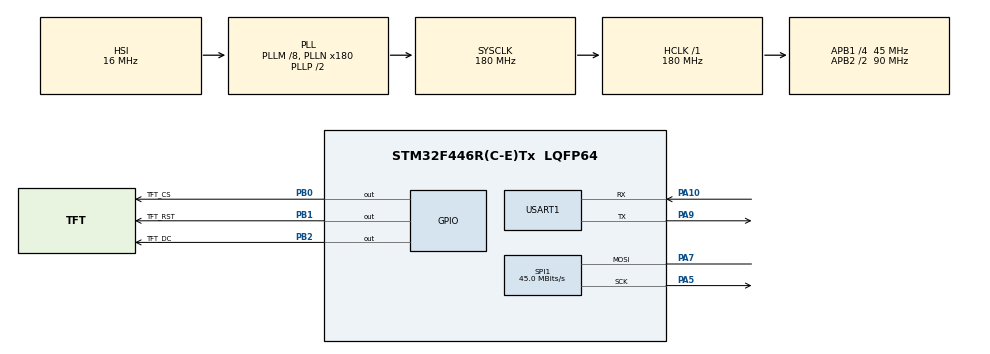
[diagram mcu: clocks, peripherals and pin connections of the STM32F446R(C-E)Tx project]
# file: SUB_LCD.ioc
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Dma.Request0=USART1_RX
Dma.USART1_RX.0.Direction=DMA_PERIPH_TO_MEMORY
Dma.USART1_RX.0.FIFOMode=DMA_FIFOMODE_DISABLE
Dma.USART1_RX.0.Instance=DMA2_Stream2
Dma.USART1_RX.0.MemDataAlignment=DMA_MDATAALIGN_BYTE
Dma.USART1_RX.0.MemInc=DMA_MINC_ENABLE
Dma.USART1_RX.0.Mode=DMA_CIRCULAR
Dma.USART1_RX.0.PeriphDataAlignment=DMA_PDATAALIGN_BYTE
Dma.USART1_RX.0.PeriphInc=DMA_PINC_DISABLE
Dma.USART1_RX.0.Priority=DMA_PRIORITY_VERY_HIGH
Mcu.Family=STM32F4
Mcu.Name=STM32F446R(C-E)Tx
Mcu.Package=LQFP64
NVIC.DMA2_Stream2_IRQn=true\:0\:0\:false\:false\:true\:false\:true\:true
NVIC.PriorityGroup=NVIC_PRIORITYGROUP_0
PA10.Mode=Asynchronous
PA10.Signal=USART1_RX
PA5.Mode=Simplex_Bidirectional_Master
PA5.Signal=SPI1_SCK
PA7.Mode=Simplex_Bidirectional_Master
PA7.Signal=SPI1_MOSI
PA9.Mode=Asynchronous
PA9.Signal=USART1_TX
PB0.GPIO_Label=TFT_CS
PB0.Signal=GPIO_Output
PB1.GPIO_Label=TFT_RST
PB1.Signal=GPIO_Output
PB2.GPIO_Label=TFT_DC
PB2.Signal=GPIO_Output
PH0-OSC_IN.Mode=HSE-External-Oscillator
PH0-OSC_IN.Signal=RCC_OSC_IN
PH1-OSC_OUT.Mode=HSE-External-Oscillator
PH1-OSC_OUT.Signal=RCC_OSC_OUT
ProjectManager.HeapSize=0x200
ProjectManager.StackSize=0x400
ProjectManager.TargetToolchain=STM32CubeIDE
RCC.AHBFreq_Value=180000000
RCC.APB1CLKDivider=RCC_HCLK_DIV4
RCC.APB1Freq_Value=45000000
RCC.APB1TimFreq_Value=90000000
RCC.APB2CLKDivider=RCC_HCLK_DIV2
RCC.APB2Freq_Value=90000000
RCC.APB2TimFreq_Value=180000000
RCC.CortexFreq_Value=180000000
RCC.FLatency-AdvancedSettings=FLASH_LATENCY_5
RCC.HCLKFreq_Value=180000000
RCC.HSE_VALUE=8000000
RCC.HSI_VALUE=16000000
RCC.LSE_VALUE=32768
RCC.PLLM=8
RCC.PLLN=180
RCC.SYSCLKFreq_VALUE=180000000
RCC.SYSCLKSource=RCC_SYSCLKSOURCE_PLLCLK
RCC.USBFreq_Value=180000000
RCC.VCOOutputFreq_Value=360000000
SPI1.BaudRatePrescaler=SPI_BAUDRATEPRESCALER_2
SPI1.CalculateBaudRate=45.0 MBits/s
SPI1.Direction=SPI_DIRECTION_1LINE
SPI1.Mode=SPI_MODE_MASTER
SPI1.VirtualType=VM_MASTER
USART1.VirtualMode=VM_ASYNC
board=NUCLEO-F446RE

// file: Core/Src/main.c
/* USER CODE BEGIN Header */
/**
  ******************************************************************************
  * @file           : main.c
  * @brief          : Main program body
  ******************************************************************************
  * @attention
  *
  * Copyright (c) 2024 STMicroelectronics.
  * All rights reserved.
  *
  * This software is licensed under terms that can be found in the LICENSE file
  * in the root directory of this software component.
  * If no LICENSE file comes with this software, it is provided AS-IS.
  *
  ******************************************************************************
  */
/* USER CODE END Header */
#include "main.h"

/* USER CODE BEGIN Includes */
#include "stdio.h"
#include <string.h>
#include "bitmaps.h"
#include <math.h>
#include "ILI9488.h"

/* USER CODE END Includes */

/* USER CODE BEGIN PM */
# define DEG_2_RAD 0.0174533f

/* USER CODE END PM */

SPI_HandleTypeDef hspi1;

UART_HandleTypeDef huart1;
DMA_HandleTypeDef hdma_usart1_rx;

/* USER CODE BEGIN PV */

uint8_t RxBuffer[25];
uint8_t rxComplete=0;
uint8_t firstReception=1;
float depth;
float velocity;
float pitch=10.0f; // negative pitch means climbing
float roll=-7.0f*DEG_2_RAD;;
//float roll=15.0f;
float yaw=0.0f;

/* USER CODE END PV */

void SystemClock_Config(void);
static void MX_GPIO_Init(void);
static void MX_DMA_Init(void);
static void MX_USART1_UART_Init(void);
static void MX_SPI1_Init(void);

/* USER CODE BEGIN 0 */
void HAL_UART_RxCpltCallback(UART_HandleTypeDef *huart)
{
	rxComplete=1;
	firstReception=0;
}

/* USER CODE END 0 */

int main(void)
{

  /* MCU Configuration--------------------------------------------------------*/

  /* Reset of all peripherals, Initializes the Flash interface and the Systick. */
  HAL_Init();

  /* Configure the system clock */
  SystemClock_Config();

  /* Initialize all configured peripherals */
  MX_GPIO_Init();
  MX_DMA_Init();
  MX_USART1_UART_Init();
  MX_SPI1_Init();
  /* USER CODE BEGIN 2 */
  HAL_UART_Receive_DMA(&huart1,RxBuffer,25);
  lcd_init_spi();

  	  // Sky and ground
     fill_rectangle(0, 0, WIDTH, HEIGHT/2, COLOR_BLUE);//
     fill_rectangle(0, HEIGHT/2, WIDTH, HEIGHT, COLOR_BROWN); //

     // Pitch indicators lower screen
     fill_rectangle(WIDTH/2-15, HEIGHT/2+15, WIDTH/2+15, HEIGHT/2+16, COLOR_WHITE);
     fill_rectangle(WIDTH/2-30, HEIGHT/2+30, WIDTH/2+30, HEIGHT/2+31, COLOR_WHITE);
     fill_rectangle(WIDTH/2-15, HEIGHT/2+45, WIDTH/2+15, HEIGHT/2+46, COLOR_WHITE);
     fill_rectangle(WIDTH/2-30, HEIGHT/2+60, WIDTH/2+30, HEIGHT/2+61, COLOR_WHITE);
     draw_string(WIDTH/2-53,HEIGHT/2+27, COLOR_WHITE, 1, "10");
     draw_string(WIDTH/2+33,HEIGHT/2+27, COLOR_WHITE, 1, "10");
     draw_string(WIDTH/2-53,HEIGHT/2+57, COLOR_WHITE, 1, "20");
     draw_string(WIDTH/2+33,HEIGHT/2+57, COLOR_WHITE, 1, "20");

     // Pitch indicators upper screen
     fill_rectangle(WIDTH/2-15, HEIGHT/2-16, WIDTH/2+15,HEIGHT/2-15, COLOR_WHITE);
     fill_rectangle(WIDTH/2-30, HEIGHT/2-31, WIDTH/2+30, HEIGHT/2-30, COLOR_WHITE);
     fill_rectangle(WIDTH/2-15, HEIGHT/2-46, WIDTH/2+15, HEIGHT/2-45, COLOR_WHITE);
     fill_rectangle(WIDTH/2-30, HEIGHT/2-61, WIDTH/2+30, HEIGHT/2-60, COLOR_WHITE);
     draw_string(WIDTH/2-53,HEIGHT/2-27, COLOR_WHITE, 1, "10");
     draw_string(WIDTH/2+33,HEIGHT/2-27, COLOR_WHITE, 1, "10");
     draw_string(WIDTH/2-53,HEIGHT/2-65, COLOR_WHITE, 1, "20");
     draw_string(WIDTH/2+33,HEIGHT/2-65, COLOR_WHITE, 1, "20");

     // cross heirs
     fill_rectangle(WIDTH/2-60, HEIGHT/2-2, WIDTH/2-15,HEIGHT/2+2, COLOR_MAGENTA);
     fill_rectangle(WIDTH/2+15, HEIGHT/2-2, WIDTH/2+60,HEIGHT/2+2, COLOR_MAGENTA);
     fill_rectangle(WIDTH/2-5, HEIGHT/2-2, WIDTH/2+5,HEIGHT/2+2, COLOR_MAGENTA);
     fill_rectangle(WIDTH/2+15, HEIGHT/2, WIDTH/2+16,HEIGHT/2+6, COLOR_MAGENTA);
     fill_rectangle(WIDTH/2-15, HEIGHT/2, WIDTH/2-14,HEIGHT/2+6, COLOR_MAGENTA);

     //Speed Depth Roll Time and pitch values
     draw_string(WIDTH/2-80, HEIGHT/2+100, COLOR_WHITE, 1, "ROLL:");
     draw_string(WIDTH/2-80,  HEIGHT/2+130, COLOR_WHITE, 1, "PITCH:");
     draw_string(WIDTH/2+30,  HEIGHT/2+100, COLOR_WHITE, 1, "DEPTH:");
     draw_string(WIDTH/2+30,  HEIGHT/2+130, COLOR_WHITE, 1, "TIME:");
     draw_string(WIDTH/2+30,  HEIGHT/2+130, COLOR_WHITE, 1, "TIME:");
     draw_string(WIDTH/2-20,  HEIGHT/2-115, COLOR_WHITE, 1, "SPEED:");

     // Turning indicator
     if(yaw<-0.05f)
    	fillTriangle(WIDTH/2+150, HEIGHT/2-100, WIDTH/2+70, HEIGHT/2-70, WIDTH/2+70, HEIGHT/2-130, COLOR_MAGENTA);
     if(yaw>0.05f);
     	 fillTriangle(WIDTH/2-150, HEIGHT/2-100, WIDTH/2-70, HEIGHT/2-70, WIDTH/2-70, HEIGHT/2-130, COLOR_MAGENTA);

     // new horizon

        // Calculate two points for the horizon line

        // Draw the horizon line

     int y1= HEIGHT/2-pitch*3-WIDTH/2*tan(roll);
     int y2=HEIGHT/2-pitch*3+WIDTH/2*tan(roll);
     int xtr1,ytr1,xtr2,ytr2,xtr3,ytr3;
	 drawLine(0, y1,WIDTH,y2,COLOR_WHITE);
	 // get the 3 points that form a triangle
	 xtr1=0;
	 ytr1=HEIGHT/2;
	 xtr2=0;
	 ytr2=y1;
	float m=(float)(y2-y1)/WIDTH;
	xtr3=round((HEIGHT/2-y1)/m);
	ytr3=HEIGHT/2;
	 if (roll<=0)
	{
		fillTriangle( xtr1,ytr1,xtr2,ytr2,xtr3,ytr3, COLOR_BLUE);
		fillTriangle( xtr3,HEIGHT/2,WIDTH,y2,WIDTH,HEIGHT/2, COLOR_BROWN);
		drawLine(0, y1,WIDTH,y2,COLOR_WHITE);
	 }

	 if (roll>0)
	 {
		fillTriangle( xtr1,ytr1,xtr2,ytr2,xtr3,ytr3, COLOR_BROWN);
		fillTriangle( xtr3,HEIGHT/2,WIDTH,y2,WIDTH,HEIGHT/2, COLOR_BLUE);
		drawLine(0, y1,WIDTH,y2,COLOR_WHITE);

	 }

	 int prev_y1=y1;
	 int prev_y2=y2;
	 int prev_xtr1=xtr1;
	 int prev_xtr2=xtr2;
	 int prev_xtr3=xtr3;
	 int prev_ytr1=ytr1;
	 int prev_ytr2=ytr2;
	 int prev_ytr3=ytr3;

//     int x = 0, y = 0;
//       int old_x, old_y;
//       int increment_x = 25;
//       int increment_y = 15;
//       int x_direction = 1;
//       int y_direction = 1;

  /* USER CODE END 2 */

  /* Infinite loop */
  /* USER CODE BEGIN WHILE */
    while (1)
    {
    	 if(rxComplete==1)
    		  {
    			  int i;
    			      for (i = 0; i < 25; i++) {
    			          if (RxBuffer[i] == 'D' && i + 4 < 25) {

    			              *((uint8_t*)&depth + 0) = RxBuffer[i + 1];
    			              *((uint8_t*)&depth + 1) = RxBuffer[i + 2];
    			              *((uint8_t*)&depth + 2) = RxBuffer[i + 3];
    			              *((uint8_t*)&depth + 3) = RxBuffer[i + 4];

    			          }
    			          else if (RxBuffer[i] == 'R' && i + 4 < 25) {

    			              *((uint8_t*)&roll + 0) = RxBuffer[i + 1];
    			              *((uint8_t*)&roll + 1) = RxBuffer[i + 2];
    			              *((uint8_t*)&roll + 2) = RxBuffer[i + 3];
    			              *((uint8_t*)&roll + 3) = RxBuffer[i + 4];

    			          }
    			          else if (RxBuffer[i] == 'P' && i + 4 < 25) {

    			              *((uint8_t*)&pitch + 0) = RxBuffer[i + 1];
    			              *((uint8_t*)&pitch + 1) = RxBuffer[i + 2];
    			              *((uint8_t*)&pitch + 2) = RxBuffer[i + 3];
    			              *((uint8_t*)&pitch + 3) = RxBuffer[i + 4];

    			          }

    			          else if (RxBuffer[i] == 'V' && i + 4 < 25) {

    						  *((uint8_t*)&velocity + 0) = RxBuffer[i + 1];
    						  *((uint8_t*)&velocity + 1) = RxBuffer[i + 2];
    						  *((uint8_t*)&velocity + 2) = RxBuffer[i + 3];
    						  *((uint8_t*)&velocity + 3) = RxBuffer[i + 4];

    			         		          }
    			          else if (RxBuffer[i] == 'Y' && i + 4 < 25) {

    			              *((uint8_t*)&yaw + 0) = RxBuffer[i + 1];
    			              *((uint8_t*)&yaw + 1) = RxBuffer[i + 2];
    			              *((uint8_t*)&yaw + 2) = RxBuffer[i + 3];
    			              *((uint8_t*)&yaw + 3) = RxBuffer[i + 4];

    			          }
    			      }
    			      rxComplete=0;
    		  }

    /* USER CODE END WHILE */

    }
}

void SystemClock_Config(void)
{
  RCC_OscInitTypeDef RCC_OscInitStruct = {0};
  RCC_ClkInitTypeDef RCC_ClkInitStruct = {0};

  /** Configure the main internal regulator output voltage
  */
  __HAL_RCC_PWR_CLK_ENABLE();
  __HAL_PWR_VOLTAGESCALING_CONFIG(PWR_REGULATOR_VOLTAGE_SCALE1);

  /** Initializes the RCC Oscillators according to the specified parameters
  * in the RCC_OscInitTypeDef structure.
  */
  RCC_OscInitStruct.OscillatorType = RCC_OSCILLATORTYPE_HSI;
  RCC_OscInitStruct.HSIState = RCC_HSI_ON;
  RCC_OscInitStruct.HSICalibrationValue = RCC_HSICALIBRATION_DEFAULT;
  RCC_OscInitStruct.PLL.PLLState = RCC_PLL_ON;
  RCC_OscInitStruct.PLL.PLLSource = RCC_PLLSOURCE_HSI;
  RCC_OscInitStruct.PLL.PLLM = 8;
  RCC_OscInitStruct.PLL.PLLN = 180;
  RCC_OscInitStruct.PLL.PLLP = RCC_PLLP_DIV2;
  RCC_OscInitStruct.PLL.PLLQ = 2;
  RCC_OscInitStruct.PLL.PLLR = 2;
  if (HAL_RCC_OscConfig(&RCC_OscInitStruct) != HAL_OK)
  {
    Error_Handler();
  }

  /** Activate the Over-Drive mode
  */
  if (HAL_PWREx_EnableOverDrive() != HAL_OK)
  {
    Error_Handler();
  }

  /** Initializes the CPU, AHB and APB buses clocks
  */
  RCC_ClkInitStruct.ClockType = RCC_CLOCKTYPE_HCLK|RCC_CLOCKTYPE_SYSCLK
                              |RCC_CLOCKTYPE_PCLK1|RCC_CLOCKTYPE_PCLK2;
  RCC_ClkInitStruct.SYSCLKSource = RCC_SYSCLKSOURCE_PLLCLK;
  RCC_ClkInitStruct.AHBCLKDivider = RCC_SYSCLK_DIV1;
  RCC_ClkInitStruct.APB1CLKDivider = RCC_HCLK_DIV4;
  RCC_ClkInitStruct.APB2CLKDivider = RCC_HCLK_DIV2;

  if (HAL_RCC_ClockConfig(&RCC_ClkInitStruct, FLASH_LATENCY_5) != HAL_OK)
  {
    Error_Handler();
  }
}

static void MX_SPI1_Init(void)
{

  /* SPI1 parameter configuration*/
  hspi1.Instance = SPI1;
  hspi1.Init.Mode = SPI_MODE_MASTER;
  hspi1.Init.Direction = SPI_DIRECTION_1LINE;
  hspi1.Init.DataSize = SPI_DATASIZE_8BIT;
  hspi1.Init.CLKPolarity = SPI_POLARITY_LOW;
  hspi1.Init.CLKPhase = SPI_PHASE_1EDGE;
  hspi1.Init.NSS = SPI_NSS_SOFT;
  hspi1.Init.BaudRatePrescaler = SPI_BAUDRATEPRESCALER_2;
  hspi1.Init.FirstBit = SPI_FIRSTBIT_MSB;
  hspi1.Init.TIMode = SPI_TIMODE_DISABLE;
  hspi1.Init.CRCCalculation = SPI_CRCCALCULATION_DISABLE;
  hspi1.Init.CRCPolynomial = 10;
  if (HAL_SPI_Init(&hspi1) != HAL_OK)
  {
    Error_Handler();
  }

}

static void MX_USART1_UART_Init(void)
{

  huart1.Instance = USART1;
  huart1.Init.BaudRate = 115200;
  huart1.Init.WordLength = UART_WORDLENGTH_8B;
  huart1.Init.StopBits = UART_STOPBITS_1;
  huart1.Init.Parity = UART_PARITY_NONE;
  huart1.Init.Mode = UART_MODE_TX_RX;
  huart1.Init.HwFlowCtl = UART_HWCONTROL_NONE;
  huart1.Init.OverSampling = UART_OVERSAMPLING_16;
  if (HAL_UART_Init(&huart1) != HAL_OK)
  {
    Error_Handler();
  }

}

static void MX_DMA_Init(void)
{

  /* DMA controller clock enable */
  __HAL_RCC_DMA2_CLK_ENABLE();

  /* DMA interrupt init */
  /* DMA2_Stream2_IRQn interrupt configuration */
  HAL_NVIC_SetPriority(DMA2_Stream2_IRQn, 0, 0);
  HAL_NVIC_EnableIRQ(DMA2_Stream2_IRQn);

}

static void MX_GPIO_Init(void)
{
  GPIO_InitTypeDef GPIO_InitStruct = {0};

  /* GPIO Ports Clock Enable */
  __HAL_RCC_GPIOH_CLK_ENABLE();
  __HAL_RCC_GPIOA_CLK_ENABLE();
  __HAL_RCC_GPIOB_CLK_ENABLE();

  /*Configure GPIO pin Output Level */
  HAL_GPIO_WritePin(GPIOB, TFT_CS_Pin|TFT_RST_Pin|TFT_DC_Pin, GPIO_PIN_RESET);

  /*Configure GPIO pins : TFT_CS_Pin TFT_RST_Pin TFT_DC_Pin */
  GPIO_InitStruct.Pin = TFT_CS_Pin|TFT_RST_Pin|TFT_DC_Pin;
  GPIO_InitStruct.Mode = GPIO_MODE_OUTPUT_PP;
  GPIO_InitStruct.Pull = GPIO_NOPULL;
  GPIO_InitStruct.Speed = GPIO_SPEED_FREQ_LOW;
  HAL_GPIO_Init(GPIOB, &GPIO_InitStruct);

}

void Error_Handler(void)
{
  __disable_irq();
  while (1)
  {
  }
}
